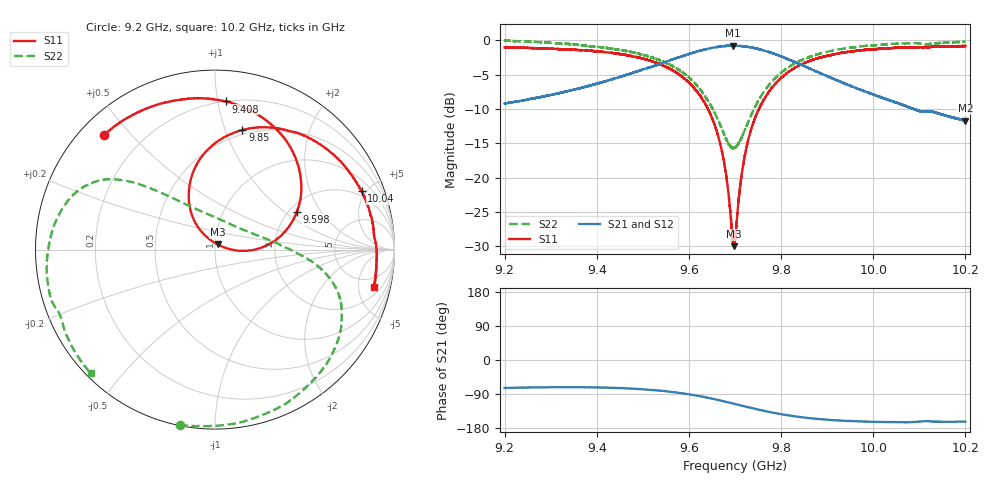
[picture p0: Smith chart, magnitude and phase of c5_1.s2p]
!Agilent Technologies,N5242A,MY51221714,A.09.90.19
!Agilent N5242A: A.09.90.19
!Date: Tuesday, March 26, 2024 15:54:16
!Correction: S11(Full 2 Port(1,2))
!S21(Full 2 Port(1,2))
!S12(Full 2 Port(1,2))
!S22(Full 2 Port(1,2))
!S2P File: Measurements: S11, S21, S12, S22:
# Hz S  dB  R 50
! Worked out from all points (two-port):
!   16001 points, 9.2 GHz to 10.2 GHz, reference 50 ohm
!   highest |S21| = -0.77 dB at 9.696 GHz (marker M1); lowest = -11.7 dB at 10.2 GHz (marker M2)
!   |S21| within 3 dB of the highest: 9.52198 GHz to 9.522213 GHz (233.3 kHz wide, 0.00245 % of centre); 9.522 GHz to 9.851 GHz (328.5 MHz wide, 3.39 % of centre)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
!   lowest |S11| = -30.0 dB at 9.698 GHz (marker M3), VSWR 1.07, Z = 51.3 + j2.93 ohm
!   |S11| at or under -10 dB: 9.641 GHz to 9.752 GHz (110.4 MHz wide, 1.14 % of centre)
!   |S22| runs from -15.7 to 0.0 dB; largest |S21 - S12| = 0.011
!   S11 on the Smith chart (normalised r, x): 9.2 GHz: 0.07, +0.42; 9.408 GHz: 0.20, +1.05; 9.598 GHz: 2.20, +1.23; 9.85 GHz: 0.46, +1.15; 10.04 GHz: 1.63, +4.67; 10.2 GHz: 3.04, -7.40
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9.2e9  -1.03 134.1  -9.19 -73.9  -9.17 -74.5  -0.04 -101.4
9.277312e9  -1.16 117.2  -8.26 -72.2  -8.25 -72.8  -0.26 -80.3
9.366688e9  -1.43 96.3  -6.91 -71.9  -6.90 -72.5  -0.72 -57.0
9.4075e9  -1.64 85.9  -6.17 -72.6  -6.16 -73.2  -1.00 -46.8
9.533375e9  -3.39 48.5  -3.50 -80.5  -3.50 -80.9  -2.78 -19.1
9.5975e9  -6.00 24.7  -2.04 -90.0  -2.03 -90.6  -5.25 -7.3
9.635188e9  -9.22 9.3  -1.32 -98.1  -1.31 -98.7  -8.14 2.0
9.662188e9  -13.64 -0.7  -0.97 -105.2  -0.95 -105.8  -11.42 15.1
9.679625e9  -19.09 -1.8  -0.83 -110.1  -0.82 -110.6  -14.21 33.8
9.69575e9  -29.21 43.0  -0.77 -114.9  -0.76 -115.4  -15.69 64.5
9.697812e9  -29.95 63.7  -0.78 -115.5  -0.77 -116.1  -15.68 68.8
9.7e9  -29.12 84.5  -0.78 -116.1  -0.77 -116.7  -15.55 73.0
9.7195e9  -17.44 127.0  -0.87 -122.0  -0.85 -122.5  -13.32 106.3
9.745125e9  -11.04 120.3  -1.17 -129.4  -1.16 -130.0  -9.48 126.4
9.789125e9  -6.20 101.6  -2.05 -140.6  -2.07 -141.1  -5.37 138.4
9.850188e9  -3.31 77.1  -3.75 -151.8  -3.74 -152.3  -2.71 147.9
9.866688e9  -2.88 71.3  -4.23 -154.1  -4.24 -154.5  -2.30 150.4
9.934375e9  -1.78 49.6  -6.18 -160.2  -6.18 -160.7  -1.22 162.6
1.003338e10  -1.16 23.3  -8.68 -163.8  -8.68 -164.3  -0.56 -176.4
1.00395e10  -1.12 21.7  -8.81 -163.8  -8.81 -164.4  -0.52 -175.1
1.019988e10  -0.82 -13.2  -11.68 -162.5  -11.68 -163.0  -0.21 -135.3
1.02e10  -0.81 -13.2  -11.67 -162.6  -11.69 -163.1  -0.22 -135.2
